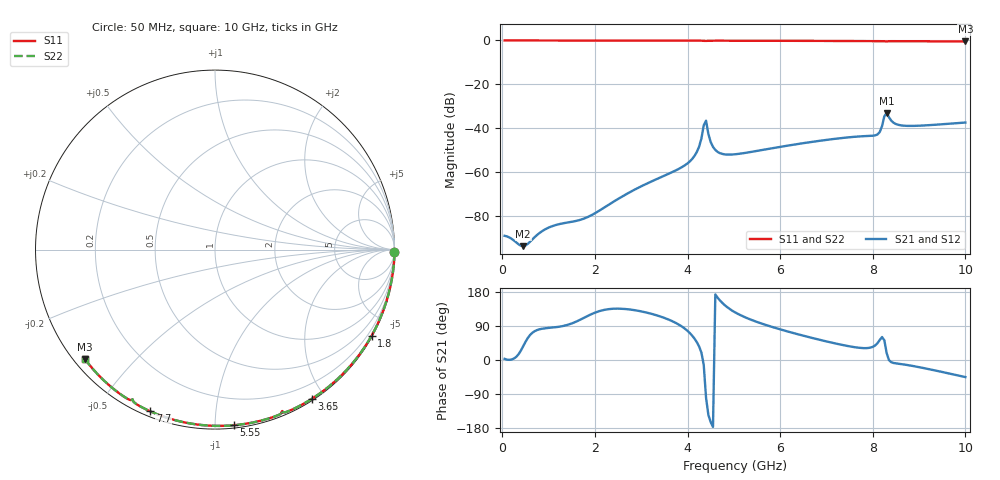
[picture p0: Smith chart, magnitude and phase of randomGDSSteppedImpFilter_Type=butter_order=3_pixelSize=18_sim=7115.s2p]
! freq	dB(S11)	phase(S11)	dB(S12)	phase(S12)
!  dB(S21)	phase(S21)	dB(S22)	phase(S22)
!S-par simulation data
#  GHz  S  DB  R 50
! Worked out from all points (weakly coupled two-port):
!   200 points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, 50 MHz to 10 GHz, reference 50 ohm
!   highest |S21| = -33.00 dB at 8.3 GHz (marker M1); lowest = -93.7 dB at 450 MHz (marker M2)
!   lowest |S11| = -0.5 dB at 10 GHz (marker M3), VSWR 36.75, Z = 1.54 - j18.2 ohm
!   |S11| at or under -10 dB: nowhere
!   |S22| runs from -0.5 to 0.0 dB; largest |S21 - S12| = 0
!   S11 on the Smith chart (normalised r, x): 50 MHz: open; 1.8 GHz: 0.03, -3.89; 3.65 GHz: 0.02, -1.84; 5.55 GHz: 0.02, -1.12; 7.7 GHz: 0.02, -0.68; 10 GHz: 0.03, -0.36
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0.05  -0.00 -0.8  -88.97 3.1  -88.97 3.1  -0.00 -0.8
0.45  -0.01 -7.3  -93.69 35.9  -93.69 35.9  -0.01 -7.3
1.75  -0.04 -28.0  -81.23 110.5  -81.23 110.5  -0.04 -28.0
1.8  -0.04 -28.8  -80.82 113.6  -80.82 113.6  -0.04 -28.8
3.4  -0.07 -53.3  -62.51 115.3  -62.51 115.3  -0.07 -53.3
3.65  -0.08 -57.0  -60.16 103.6  -60.16 103.6  -0.08 -57.0
4.15  -0.09 -64.4  -52.60 56.5  -52.60 56.5  -0.09 -64.4
4.25  -0.10 -65.9  -48.34 35.7  -48.34 35.7  -0.10 -65.9
4.35  -0.17 -67.7  -38.66 -13.2  -38.66 -13.2  -0.17 -67.6
4.4  -0.22 -67.3  -36.52 -99.9  -36.52 -99.9  -0.22 -67.3
4.5  -0.11 -69.0  -46.27 -163.8  -46.27 -163.8  -0.11 -69.0
4.6  -0.11 -70.5  -49.84 173.1  -49.84 173.1  -0.11 -70.5
5.05  -0.12 -76.9  -51.78 124.2  -51.78 124.2  -0.12 -76.9
5.55  -0.14 -83.7  -50.12 98.2  -50.12 98.2  -0.14 -83.7
6.7  -0.19 -99.0  -46.15 57.9  -46.15 57.9  -0.19 -99.0
7.7  -0.26 -111.8  -43.72 32.3  -43.72 32.3  -0.26 -111.8
8.1  -0.30 -117.0  -42.83 44.1  -42.83 44.1  -0.30 -117.0
8.3  -0.41 -118.7  -33.00 18.1  -33.00 18.1  -0.41 -118.7
8.35  -0.34 -119.3  -34.99 -0.4  -34.99 -0.4  -0.34 -119.3
8.5  -0.32 -121.4  -38.06 -9.0  -38.06 -9.0  -0.32 -121.4
8.7  -0.34 -124.0  -38.87 -12.3  -38.87 -12.3  -0.34 -124.0
10  -0.47 -140.0  -37.38 -45.1  -37.38 -45.1  -0.47 -140.0
